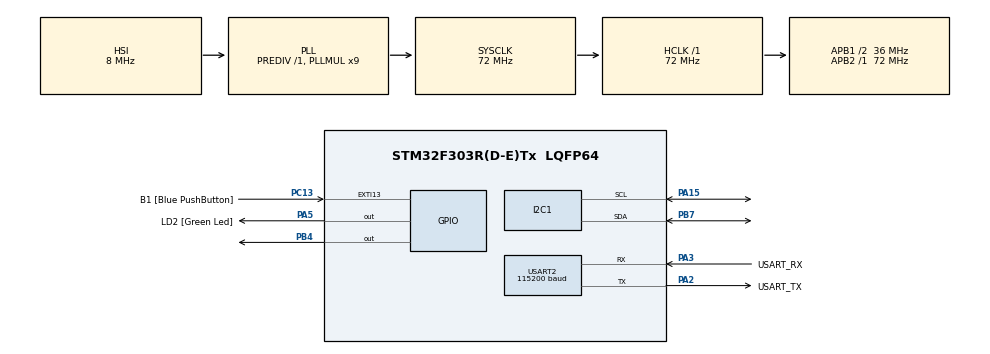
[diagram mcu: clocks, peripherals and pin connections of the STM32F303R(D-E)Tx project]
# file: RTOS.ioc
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FREERTOS.Events01=newDataRead,Dynamic,NULL;UARTConfigChange,Dynamic,NULL;DataCalculated,Dynamic,NULL
FREERTOS.HEAP_NUMBER=3
FREERTOS.Mutexes01=calculateData_mutex,Dynamic,NULL;changingUARTParam_mutex,Dynamic,NULL;getData_mutex,Dynamic,NULL
FREERTOS.Tasks01=Read_raw_data,29,128,StartReadI2CData,Default,NULL,Dynamic,NULL,NULL;Calculate_Value,28,128,CalculateRawData,Default,NULL,Dynamic,NULL,NULL;Send_data_UART,29,128,SendDataUART,Default,NULL,Dynamic,NULL,NULL;rec_conf_UART,32,128,recConfUART,Default,NULL,Dynamic,NULL,NULL
FREERTOS.Timers01=Meas_Timer,Callback01,osTimerPeriodic,Default,NULL,Dynamic,NULL;SendDataTImer,Callback02,osTimerPeriodic,Default,NULL,Dynamic,NULL
FREERTOS.configUSE_NEWLIB_REENTRANT=1
Mcu.Family=STM32F3
Mcu.Name=STM32F303R(D-E)Tx
Mcu.Package=LQFP64
NVIC.PriorityGroup=NVIC_PRIORITYGROUP_4
NVIC.TIM1_UP_TIM16_IRQn=true\:15\:0\:false\:false\:true\:false\:false\:true\:true
NVIC.TimeBase=TIM1_UP_TIM16_IRQn
NVIC.TimeBaseIP=TIM1
PA13.GPIO_Label=TMS
PA13.Mode=Serial_Wire
PA13.Signal=SYS_JTMS-SWDIO
PA14.GPIO_Label=TCK
PA14.Mode=Serial_Wire
PA14.Signal=SYS_JTCK-SWCLK
PA15.GPIO_Pu=GPIO_PULLUP
PA15.Mode=I2C
PA15.Signal=I2C1_SCL
PA2.GPIO_Label=USART_TX
PA2.GPIO_Mode=GPIO_MODE_AF_PP
PA2.GPIO_PuPd=GPIO_NOPULL
PA2.GPIO_Speed=GPIO_SPEED_FREQ_LOW
PA2.Mode=Asynchronous
PA2.Signal=USART2_TX
PA3.GPIO_Label=USART_RX
PA3.GPIO_Mode=GPIO_MODE_AF_PP
PA3.GPIO_PuPd=GPIO_NOPULL
PA3.GPIO_Speed=GPIO_SPEED_FREQ_LOW
PA3.Mode=Asynchronous
PA3.Signal=USART2_RX
PA5.GPIO_Label=LD2 [Green Led]
PA5.GPIO_Mode=GPIO_MODE_OUTPUT_PP
PA5.GPIO_PuPd=GPIO_NOPULL
PA5.GPIO_Speed=GPIO_SPEED_FREQ_LOW
PA5.Signal=GPIO_Output
PB3.GPIO_Label=SWO
PB3.Signal=SYS_JTDO-TRACESWO
PB4.Signal=GPIO_Output
PB7.GPIO_Pu=GPIO_PULLUP
PB7.Mode=I2C
PB7.Signal=I2C1_SDA
PC13.GPIO_Label=B1 [Blue PushButton]
PC13.GPIO_ModeDefaultEXTI=GPIO_MODE_IT_FALLING
PC13.Signal=GPXTI13
PC14-OSC32_IN.Mode=LSE-External-Oscillator
PC14-OSC32_IN.Signal=RCC_OSC32_IN
PC15-OSC32_OUT.Mode=LSE-External-Oscillator
PC15-OSC32_OUT.Signal=RCC_OSC32_OUT
PF0-OSC_IN.Mode=HSE-External-Oscillator
PF0-OSC_IN.Signal=RCC_OSC_IN
PF1-OSC_OUT.Mode=HSE-External-Oscillator
PF1-OSC_OUT.Signal=RCC_OSC_OUT
ProjectManager.HeapSize=0x200
ProjectManager.StackSize=0x400
ProjectManager.TargetToolchain=STM32CubeIDE
RCC.AHBFreq_Value=72000000
RCC.APB1CLKDivider=RCC_HCLK_DIV2
RCC.APB1Freq_Value=36000000
RCC.APB1TimFreq_Value=72000000
RCC.APB2Freq_Value=72000000
RCC.APB2TimFreq_Value=72000000
RCC.CortexFreq_Value=72000000
RCC.HCLKFreq_Value=72000000
RCC.HSE_VALUE=8000000
RCC.HSI_VALUE=8000000
RCC.PLLM=8
RCC.PLLMUL=RCC_PLL_MUL9
RCC.PLLN=336
RCC.PLLP=RCC_PLLP_DIV4
RCC.PLLQ=7
RCC.RCC_PLLsource_Clock_Source_FROM_HSE=RCC_HSE_PREDIV_DIV2
RCC.SYSCLKFreq_VALUE=72000000
RCC.SYSCLKSourceVirtual=RCC_SYSCLKSOURCE_PLLCLK
RCC.USBFreq_Value=72000000
USART2.BaudRate=115200
USART2.VirtualMode-Asynchronous=VM_ASYNC
VP_FREERTOS_VS_CMSIS_V2.Mode=CMSIS_V2
VP_SYS_VS_tim1.Mode=TIM1
board=NUCLEO-F303RE

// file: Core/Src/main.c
/* USER CODE BEGIN Header */
/**
  ******************************************************************************
  * @file           : main.c
  * @brief          : Main program body
  ******************************************************************************
  * @attention
  *
  * Copyright (c) 2024 STMicroelectronics.
  * All rights reserved.
  *
  * This software is licensed under terms that can be found in the LICENSE file
  * in the root directory of this software component.
  * If no LICENSE file comes with this software, it is provided AS-IS.
  *
  ******************************************************************************
  */
/* USER CODE END Header */
#include "main.h"
#include "cmsis_os.h"
#include "i2c.h"
#include "usart.h"
#include "gpio.h"

/* USER CODE BEGIN Includes */
#include "bma220.h"
#include "crc8.h"
/* USER CODE END Includes */

/* USER CODE BEGIN PV */
BMA220 acc;
/* USER CODE END PV */

void SystemClock_Config(void);
void MX_FREERTOS_Init(void);

int main(void)
{

  /* MCU Configuration--------------------------------------------------------*/

  /* Reset of all peripherals, Initializes the Flash interface and the Systick. */
  HAL_Init();

  /* Configure the system clock */
  SystemClock_Config();

  /* Initialize all configured peripherals */
  MX_GPIO_Init();
  MX_USART2_UART_Init();
  MX_I2C1_Init();
  /* USER CODE BEGIN 2 */
    BMA220_Init(&acc,&hi2c1);
  /* USER CODE END 2 */

  /* Init scheduler */
  osKernelInitialize();  /* Call init function for freertos objects (in freertos.c) */
  MX_FREERTOS_Init();

  /* Start scheduler */
  osKernelStart();

  /* We should never get here as control is now taken by the scheduler */
  /* Infinite loop */
  while (1)
  {

  }
}

void SystemClock_Config(void)
{
  RCC_OscInitTypeDef RCC_OscInitStruct = {0};
  RCC_ClkInitTypeDef RCC_ClkInitStruct = {0};
  RCC_PeriphCLKInitTypeDef PeriphClkInit = {0};

  /** Initializes the RCC Oscillators according to the specified parameters
  * in the RCC_OscInitTypeDef structure.
  */
  RCC_OscInitStruct.OscillatorType = RCC_OSCILLATORTYPE_HSI;
  RCC_OscInitStruct.HSIState = RCC_HSI_ON;
  RCC_OscInitStruct.HSICalibrationValue = RCC_HSICALIBRATION_DEFAULT;
  RCC_OscInitStruct.PLL.PLLState = RCC_PLL_ON;
  RCC_OscInitStruct.PLL.PLLSource = RCC_PLLSOURCE_HSI;
  RCC_OscInitStruct.PLL.PLLMUL = RCC_PLL_MUL9;
  RCC_OscInitStruct.PLL.PREDIV = RCC_PREDIV_DIV1;
  if (HAL_RCC_OscConfig(&RCC_OscInitStruct) != HAL_OK)
  {
//    Error_Handler();
  }

  /** Initializes the CPU, AHB and APB buses clocks
  */
  RCC_ClkInitStruct.ClockType = RCC_CLOCKTYPE_HCLK|RCC_CLOCKTYPE_SYSCLK
                              |RCC_CLOCKTYPE_PCLK1|RCC_CLOCKTYPE_PCLK2;
  RCC_ClkInitStruct.SYSCLKSource = RCC_SYSCLKSOURCE_PLLCLK;
  RCC_ClkInitStruct.AHBCLKDivider = RCC_SYSCLK_DIV1;
  RCC_ClkInitStruct.APB1CLKDivider = RCC_HCLK_DIV2;
  RCC_ClkInitStruct.APB2CLKDivider = RCC_HCLK_DIV1;

  if (HAL_RCC_ClockConfig(&RCC_ClkInitStruct, FLASH_LATENCY_2) != HAL_OK)
  {
//    Error_Handler();
  }
  PeriphClkInit.PeriphClockSelection = RCC_PERIPHCLK_USART2|RCC_PERIPHCLK_I2C1;
  PeriphClkInit.Usart2ClockSelection = RCC_USART2CLKSOURCE_PCLK1;
  PeriphClkInit.I2c1ClockSelection = RCC_I2C1CLKSOURCE_HSI;
  if (HAL_RCCEx_PeriphCLKConfig(&PeriphClkInit) != HAL_OK)
  {
//    Error_Handler();
  }
}

void HAL_TIM_PeriodElapsedCallback(TIM_HandleTypeDef *htim)
{
  if (htim->Instance == TIM1) {
    HAL_IncTick();
  }
}

void Error_Handler(void)
{
  __disable_irq();
  while (1)
  {
  }
}

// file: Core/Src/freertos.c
/* USER CODE BEGIN Header */
/**
  ******************************************************************************
  * File Name          : freertos.c
  * Description        : Code for freertos applications
  ******************************************************************************
  * @attention
  *
  * Copyright (c) 2024 STMicroelectronics.
  * All rights reserved.
  *
  * This software is licensed under terms that can be found in the LICENSE file
  * in the root directory of this software component.
  * If no LICENSE file comes with this software, it is provided AS-IS.
  *
  ******************************************************************************
  */
/* USER CODE END Header */

#include "FreeRTOS.h"
#include "task.h"
#include "main.h"
#include "cmsis_os.h"

/* USER CODE BEGIN Includes */
#include "bma220.h"
#include "crc8.h"
#include "usart.h"
#include <string.h>
#include <stdio.h>
/* USER CODE END Includes */

/* USER CODE BEGIN PTD */
#define FLAG_NEWDATA 0x00000001U

/* USER CODE END PTD */

/* Definitions for Read_raw_data */
osThreadId_t Read_raw_dataHandle;
const osThreadAttr_t Read_raw_data_attributes = {
  .name = "Read_raw_data",
  .stack_size = 128 * 4,
  .priority = (osPriority_t) osPriorityNormal5,
};
/* Definitions for Calculate_Value */
osThreadId_t Calculate_ValueHandle;
const osThreadAttr_t Calculate_Value_attributes = {
  .name = "Calculate_Value",
  .stack_size = 128 * 4,
  .priority = (osPriority_t) osPriorityNormal4,
};
/* Definitions for Send_data_UART */
osThreadId_t Send_data_UARTHandle;
const osThreadAttr_t Send_data_UART_attributes = {
  .name = "Send_data_UART",
  .stack_size = 128 * 4,
  .priority = (osPriority_t) osPriorityNormal5,
};
/* Definitions for rec_conf_UART */
osThreadId_t rec_conf_UARTHandle;
const osThreadAttr_t rec_conf_UART_attributes = {
  .name = "rec_conf_UART",
  .stack_size = 128 * 4,
  .priority = (osPriority_t) osPriorityAboveNormal,
};
/* Definitions for Meas_Timer */
osTimerId_t Meas_TimerHandle;
const osTimerAttr_t Meas_Timer_attributes = {
  .name = "Meas_Timer"
};
/* Definitions for SendDataTImer */
osTimerId_t SendDataTImerHandle;
const osTimerAttr_t SendDataTImer_attributes = {
  .name = "SendDataTImer"
};
/* Definitions for calculateData_mutex */
osMutexId_t calculateData_mutexHandle;
const osMutexAttr_t calculateData_mutex_attributes = {
  .name = "calculateData_mutex"
};
/* Definitions for changingUARTParam_mutex */
osMutexId_t changingUARTParam_mutexHandle;
const osMutexAttr_t changingUARTParam_mutex_attributes = {
  .name = "changingUARTParam_mutex"
};
/* Definitions for getData_mutex */
osMutexId_t getData_mutexHandle;
const osMutexAttr_t getData_mutex_attributes = {
  .name = "getData_mutex"
};
/* Definitions for newDataRead */
osEventFlagsId_t newDataReadHandle;
const osEventFlagsAttr_t newDataRead_attributes = {
  .name = "newDataRead"
};
/* Definitions for UARTConfigChange */
osEventFlagsId_t UARTConfigChangeHandle;
const osEventFlagsAttr_t UARTConfigChange_attributes = {
  .name = "UARTConfigChange"
};
/* Definitions for DataCalculated */
osEventFlagsId_t DataCalculatedHandle;
const osEventFlagsAttr_t DataCalculated_attributes = {
  .name = "DataCalculated"
};

void StartReadI2CData(void *argument);
void CalculateRawData(void *argument);
void SendDataUART(void *argument);
void recConfUART(void *argument);
void Callback01(void *argument);
void Callback02(void *argument);

void MX_FREERTOS_Init(void); /* (MISRA C 2004 rule 8.1) */

void MX_FREERTOS_Init(void) {
  /* Create the mutex(es) */
  /* creation of calculateData_mutex */
  calculateData_mutexHandle = osMutexNew(&calculateData_mutex_attributes);

  /* creation of changingUARTParam_mutex */
  changingUARTParam_mutexHandle = osMutexNew(&changingUARTParam_mutex_attributes);

  /* creation of getData_mutex */
  getData_mutexHandle = osMutexNew(&getData_mutex_attributes);

  /* Create the timer(s) */
  /* creation of Meas_Timer */
  Meas_TimerHandle = osTimerNew(Callback01, osTimerPeriodic, NULL, &Meas_Timer_attributes);

  /* creation of SendDataTImer */
  SendDataTImerHandle = osTimerNew(Callback02, osTimerPeriodic, NULL, &SendDataTImer_attributes);

  /* Create the thread(s) */
  /* creation of Read_raw_data */
  Read_raw_dataHandle = osThreadNew(StartReadI2CData, NULL, &Read_raw_data_attributes);

  /* creation of Calculate_Value */
  Calculate_ValueHandle = osThreadNew(CalculateRawData, NULL, &Calculate_Value_attributes);

  /* creation of Send_data_UART */
  Send_data_UARTHandle = osThreadNew(SendDataUART, NULL, &Send_data_UART_attributes);

  /* creation of rec_conf_UART */
  rec_conf_UARTHandle = osThreadNew(recConfUART, NULL, &rec_conf_UART_attributes);

  /* creation of newDataRead */
  newDataReadHandle = osEventFlagsNew(&newDataRead_attributes);

  /* creation of UARTConfigChange */
  UARTConfigChangeHandle = osEventFlagsNew(&UARTConfigChange_attributes);

  /* creation of DataCalculated */
  DataCalculatedHandle = osEventFlagsNew(&DataCalculated_attributes);

}

void StartReadI2CData(void *argument)
{
  /* USER CODE BEGIN StartReadI2CData */
  /* Infinite loop */
  for(;;)
  {
//      HAL_GPIO_TogglePin(LD2_GPIO_Port,LD2_Pin);
      osMutexAcquire(getData_mutexHandle, osWaitForever);
      BMA220_ReadAcc(&acc);
      osMutexRelease(getData_mutexHandle);
      osEventFlagsSet(newDataReadHandle,FLAG_NEWDATA);
    osDelay(100);
  }
  /* USER CODE END StartReadI2CData */
}

void CalculateRawData(void *argument)
{
  /* USER CODE BEGIN CalculateRawData */
  /* Infinite loop */
  for(;;){
      osEventFlagsWait(newDataReadHandle,FLAG_NEWDATA,osFlagsWaitAny,osWaitForever);
      osMutexAcquire(getData_mutexHandle,osWaitForever);
      osMutexAcquire(calculateData_mutexHandle,osWaitForever);
      BMA220_CalcAcc(&acc);
      osMutexRelease(calculateData_mutexHandle);
      osMutexRelease(getData_mutexHandle);
    osDelay(10);
  }
  /* USER CODE END CalculateRawData */
}

void SendDataUART(void *argument)
{
  /* USER CODE BEGIN SendDataUART */
  /* Infinite loop */
  char bufToSent[50];
  for(;;)
  {
      osMutexAcquire(calculateData_mutexHandle,osWaitForever);
      BMA220_CreateString(&acc,bufToSent);
      HAL_GPIO_TogglePin(LD2_GPIO_Port,LD2_Pin);
      HAL_UART_Transmit(&huart2, bufToSent,strlen(bufToSent), HAL_MAX_DELAY);
      osMutexRelease(calculateData_mutexHandle);
    osDelay(1000);
  }
  /* USER CODE END SendDataUART */
}

void recConfUART(void *argument)
{
  /* USER CODE BEGIN recConfUART */
  /* Infinite loop */
  for(;;)
  {
//      HAL_GPIO_TogglePin(LD2_GPIO_Port,LD2_Pin);
    osDelay(10);
  }
  /* USER CODE END recConfUART */
}

/* Callback01 function */
void Callback01(void *argument)
{
}

/* Callback02 function */
void Callback02(void *argument)
{
}
